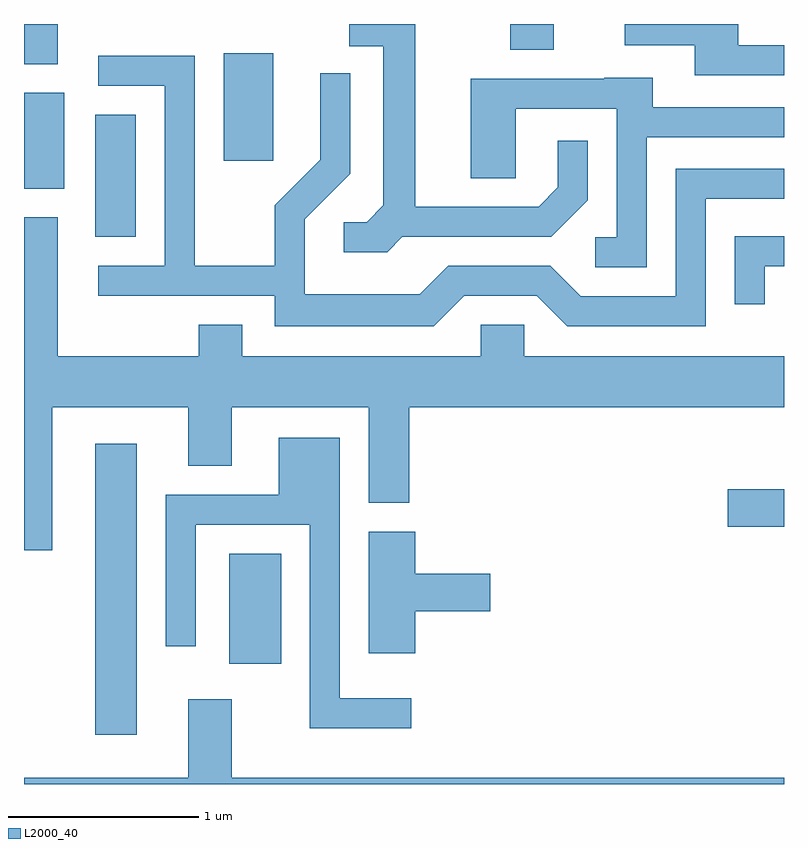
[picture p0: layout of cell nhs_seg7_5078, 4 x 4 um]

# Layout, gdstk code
import gdstk
lib = gdstk.Library(unit=1e-6, precision=1e-09)
def R(c, l, rs):  # rectangles x0, y0, x1, y1
    for r in rs: c.add(gdstk.rectangle(r[:2], r[2:], *l))
def P(c, l, *ps):  # polygons
    for p in ps: c.add(gdstk.Polygon(p, *l))
L2000_40 = (2000, 40)

nhs_seg7_5078 = lib.new_cell('nhs_seg7_5078')
R(nhs_seg7_5078, L2000_40, [(339.986,1792.511,340.204,1794.044), (340.691,1792.886,340.964,1793.464), (343.316,1793.606,343.611,1793.804), (339.986,1795.131,340.199,1795.774), (339.611,1795.386,339.824,1795.889), (340.661,1795.531,340.924,1796.099), (339.611,1796.041,339.789,1796.252), (342.171,1796.116,342.399,1796.252)])
P(nhs_seg7_5078, L2000_40, [(343.611,1796.139),(343.369,1796.139),(343.369,1796.252),(342.773,1796.252),(342.773,1796.141),(343.141,1796.141),(343.141,1795.981),(343.611,1795.981)],
  [(341.602,1795.131),(342.387,1795.131),(342.579,1795.324),(342.579,1795.638),(342.421,1795.638),(342.421,1795.392),(342.319,1795.289),(341.669,1795.289),(341.669,1796.252),(341.323,1796.252),(341.323,1796.136),(341.501,1796.136),(341.501,1795.297),(341.414,1795.209),(341.293,1795.209),(341.293,1795.051),(341.522,1795.051)],
  [(341.927,1794.821),(342.309,1794.821),(342.469,1794.661),(343.199,1794.661),(343.199,1795.331),(343.611,1795.331),(343.611,1795.489),(343.041,1795.489),(343.041,1794.819),(342.542,1794.819),(342.382,1794.979),(341.844,1794.979),(341.694,1794.829),(341.089,1794.829),(341.089,1795.224),(341.329,1795.464),(341.329,1795.993),(341.171,1795.993),(341.171,1795.537),(340.931,1795.297),(340.931,1794.979),(340.509,1794.979),(340.509,1796.084),(340.003,1796.084),(340.003,1795.926),(340.351,1795.926),(340.351,1794.979),(340.003,1794.979),(340.003,1794.821),(340.931,1794.821),(340.931,1794.661),(341.767,1794.661)],
  [(342.889,1795.656),(343.611,1795.656),(343.611,1795.814),(342.919,1795.814),(342.919,1795.969),(342.665,1795.969),(342.665,1795.964),(341.961,1795.964),(341.961,1795.441),(342.199,1795.441),(342.199,1795.806),(342.731,1795.806),(342.731,1795.129),(342.618,1795.129),(342.618,1794.971),(342.889,1794.971)],
  [(339.759,1794.236),(340.476,1794.236),(340.476,1793.926),(340.704,1793.926),(340.704,1794.236),(341.426,1794.236),(341.426,1793.731),(341.639,1793.731),(341.639,1794.236),(343.611,1794.236),(343.611,1794.504),(342.244,1794.504),(342.244,1794.669),(342.016,1794.669),(342.016,1794.504),(340.759,1794.504),(340.759,1794.669),(340.531,1794.669),(340.531,1794.504),(339.789,1794.504),(339.789,1795.234),(339.611,1795.234),(339.611,1793.481),(339.759,1793.481)],
  [(343.509,1794.976),(343.611,1794.976),(343.611,1795.134),(343.351,1795.134),(343.351,1794.778),(343.509,1794.778)],
  [(341.648,1792.704),(341.274,1792.704),(341.274,1794.074),(340.951,1794.074),(340.951,1793.774),(340.356,1793.774),(340.356,1792.978),(340.514,1792.978),(340.514,1793.616),(341.116,1793.616),(341.116,1792.546),(341.648,1792.546)],
  [(341.669,1793.161),(342.064,1793.161),(342.064,1793.359),(341.669,1793.359),(341.669,1793.579),(341.426,1793.579),(341.426,1792.941),(341.669,1792.941)],
  [(343.611,1792.284),(340.704,1792.284),(340.704,1792.699),(340.476,1792.699),(340.476,1792.284),(339.611,1792.284),(339.611,1792.252),(343.611,1792.252)])

lib.write_gds('nhs_seg7_5078.gds')
